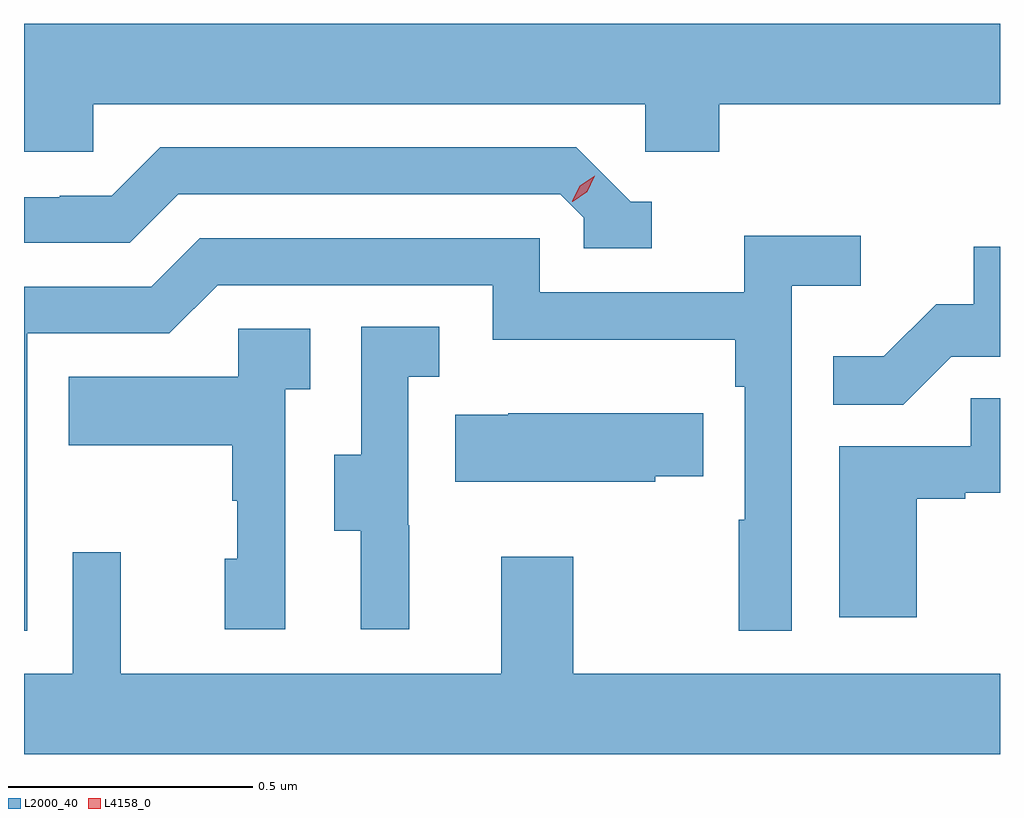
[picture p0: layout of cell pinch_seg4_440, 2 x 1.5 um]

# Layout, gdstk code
import gdstk
lib = gdstk.Library(unit=1e-6, precision=1e-09)
def P(c, l, *ps):  # polygons
    for p in ps: c.add(gdstk.Polygon(p, *l))
L2000_40 = (2000, 40)
L4158_0 = (4158, 0)

pinch_seg4_440 = lib.new_cell('pinch_seg4_440')
P(pinch_seg4_440, L2000_40, [(915.285,778.172),(916.416,778.172),(916.416,778.074),(916.568,778.074),(916.568,778.172),(917.143,778.172),(917.143,778.336),(915.143,778.336),(915.143,778.074),(915.285,778.074)],
  [(916.429,777.972),(916.386,777.972),(916.275,778.083),(915.422,778.083),(915.323,777.984),(915.216,777.984),(915.216,777.981),(915.143,777.981),(915.143,777.888),(915.36,777.888),(915.459,777.987),(916.242,777.987),(916.29,777.939),(916.29,777.876),(916.429,777.876)],
  [(915.15,777.702),(915.441,777.702),(915.54,777.801),(916.104,777.801),(916.104,777.689),(916.6,777.689),(916.6,777.593),(916.62,777.593),(916.62,777.32),(916.608,777.32),(916.608,777.093),(916.716,777.093),(916.716,777.8),(916.858,777.8),(916.858,777.902),(916.619,777.902),(916.619,777.786),(916.2,777.786),(916.2,777.897),(915.503,777.897),(915.404,777.798),(915.143,777.798),(915.143,777.093),(915.15,777.093)],
  [(917.043,777.654),(917.143,777.654),(917.143,777.879),(917.089,777.879),(917.089,777.762),(917.012,777.762),(916.905,777.655),(916.801,777.655),(916.801,777.556),(916.945,777.556)],
  [(915.932,777.309),(915.93,777.309),(915.93,777.613),(915.994,777.613),(915.994,777.716),(915.834,777.716),(915.834,777.453),(915.779,777.453),(915.779,777.298),(915.833,777.298),(915.833,777.096),(915.932,777.096)],
  [(915.678,777.587),(915.73,777.587),(915.73,777.711),(915.582,777.711),(915.582,777.613),(915.235,777.613),(915.235,777.473),(915.57,777.473),(915.57,777.359),(915.58,777.359),(915.58,777.24),(915.554,777.24),(915.554,777.096),(915.678,777.096)],
  [(916.972,777.363),(917.072,777.363),(917.072,777.375),(917.143,777.375),(917.143,777.569),(917.083,777.569),(917.083,777.471),(916.814,777.471),(916.814,777.12),(916.972,777.12)],
  [(916.437,777.409),(916.535,777.409),(916.535,777.538),(916.135,777.538),(916.135,777.535),(916.027,777.535),(916.027,777.398),(916.437,777.398)],
  [(917.143,777.004),(916.269,777.004),(916.269,777.244),(916.121,777.244),(916.121,777.004),(915.341,777.004),(915.341,777.253),(915.243,777.253),(915.243,777.004),(915.143,777.004),(915.143,776.84),(917.143,776.84)])
P(pinch_seg4_440, L4158_0, [(916.266,777.972),(916.266,777.973),(916.282,778.005),(916.313,778.025),(916.313,778.025),(916.313,778.025),(916.297,777.992),(916.267,777.972)])

lib.write_gds('pinch_seg4_440.gds')
